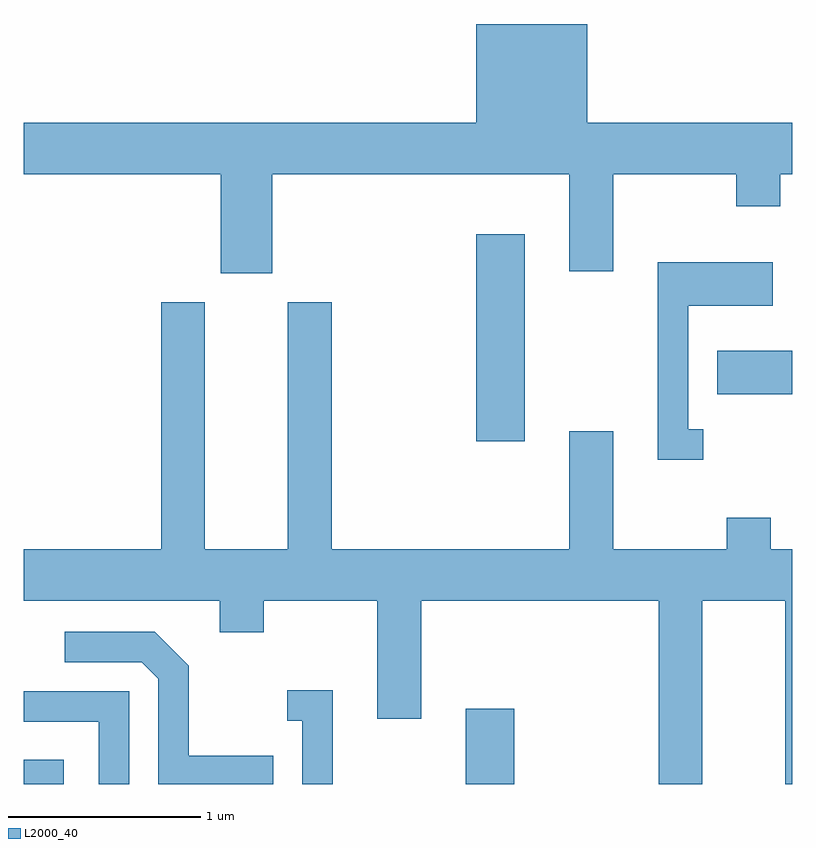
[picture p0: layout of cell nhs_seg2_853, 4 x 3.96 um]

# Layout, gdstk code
import gdstk
lib = gdstk.Library(unit=1e-6, precision=1e-09)
def R(c, l, rs):  # rectangles x0, y0, x1, y1
    for r in rs: c.add(gdstk.rectangle(r[:2], r[2:], *l))
def P(c, l, *ps):  # polygons
    for p in ps: c.add(gdstk.Polygon(p, *l))
L2000_40 = (2000, 40)

nhs_seg2_853 = lib.new_cell('nhs_seg2_853')
R(nhs_seg2_853, L2000_40, [(209.611,1051.802,209.819,1051.929), (211.911,1051.802,212.164,1052.194), (211.966,1053.586,212.219,1054.664), (213.221,1053.831,213.611,1054.059)])
P(nhs_seg2_853, L2000_40, [(210.904,1054.976),(212.451,1054.976),(212.451,1054.471),(212.679,1054.471),(212.679,1054.976),(213.321,1054.976),(213.321,1054.811),(213.549,1054.811),(213.549,1054.976),(213.611,1054.976),(213.611,1055.244),(212.544,1055.244),(212.544,1055.759),(211.966,1055.759),(211.966,1055.244),(209.611,1055.244),(209.611,1054.976),(210.636,1054.976),(210.636,1054.461),(210.904,1054.461)],
  [(213.148,1053.649),(213.069,1053.649),(213.069,1054.291),(213.509,1054.291),(213.509,1054.519),(212.911,1054.519),(212.911,1053.491),(213.148,1053.491)],
  [(213.144,1052.756),(213.576,1052.756),(213.576,1051.802),(213.611,1051.802),(213.611,1053.024),(213.499,1053.024),(213.499,1053.189),(213.271,1053.189),(213.271,1053.024),(212.679,1053.024),(212.679,1053.639),(212.451,1053.639),(212.451,1053.024),(211.214,1053.024),(211.214,1054.309),(210.986,1054.309),(210.986,1053.024),(210.554,1053.024),(210.554,1054.309),(210.326,1054.309),(210.326,1053.024),(209.611,1053.024),(209.611,1052.756),(210.631,1052.756),(210.631,1052.591),(210.859,1052.591),(210.859,1052.756),(211.451,1052.756),(211.451,1052.141),(211.679,1052.141),(211.679,1052.756),(212.916,1052.756),(212.916,1051.802),(213.144,1051.802)],
  [(210.909,1051.949),(210.469,1051.949),(210.469,1052.417),(210.292,1052.594),(209.823,1052.594),(209.823,1052.436),(210.224,1052.436),(210.311,1052.349),(210.311,1051.802),(210.909,1051.802)],
  [(211.219,1052.289),(210.983,1052.289),(210.983,1052.131),(211.061,1052.131),(211.061,1051.802),(211.219,1051.802)],
  [(210.159,1052.284),(209.611,1052.284),(209.611,1052.126),(210.001,1052.126),(210.001,1051.802),(210.159,1051.802)])

lib.write_gds('nhs_seg2_853.gds')
